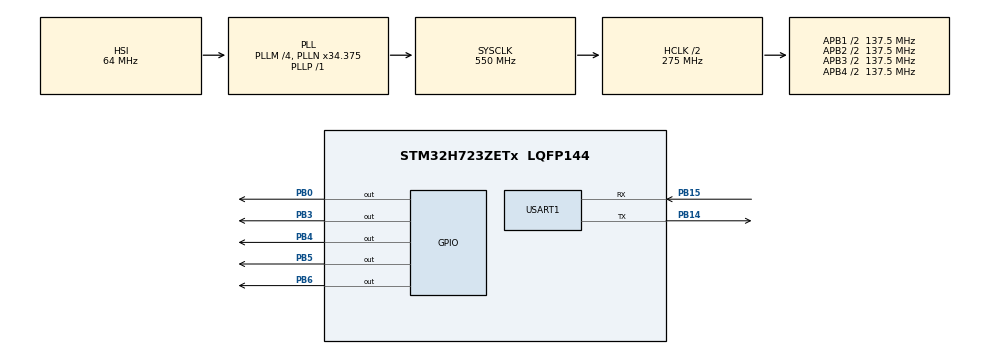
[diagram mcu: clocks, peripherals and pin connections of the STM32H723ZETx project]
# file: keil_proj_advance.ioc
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CORTEX_M7.default_mode_Activation=1
Mcu.Family=STM32H7
Mcu.Name=STM32H723ZETx
Mcu.Package=LQFP144
NVIC.PriorityGroup=NVIC_PRIORITYGROUP_4
NVIC.TIM6_DAC_IRQn=true\:0\:0\:false\:false\:true\:true\:true\:true
NVIC.USART1_IRQn=true\:0\:0\:false\:false\:true\:true\:true\:true
PB0.Signal=GPIO_Output
PB14.Mode=Asynchronous
PB14.Signal=USART1_TX
PB15.Mode=Asynchronous
PB15.Signal=USART1_RX
PB3(JTDO/TRACESWO).Signal=GPIO_Output
PB4(NJTRST).Signal=GPIO_Output
PB5.Signal=GPIO_Output
PB6.Signal=GPIO_Output
ProjectManager.HeapSize=0x200
ProjectManager.StackSize=0x400
ProjectManager.TargetToolchain=MDK-ARM V5.32
RCC.ADCFreq_Value=129000000
RCC.APB1Freq_Value=137500000
RCC.APB2Freq_Value=137500000
RCC.APB3Freq_Value=137500000
RCC.APB4Freq_Value=137500000
RCC.CortexFreq_Value=550000000
RCC.D1PPRE=RCC_APB3_DIV2
RCC.D2PPRE1=RCC_APB1_DIV2
RCC.D2PPRE2=RCC_APB2_DIV2
RCC.D3PPRE=RCC_APB4_DIV2
RCC.DIVM1=4
RCC.DIVN1=34
RCC.DIVP1=1
RCC.HCLKFreq_Value=275000000
RCC.HPRE=RCC_HCLK_DIV2
RCC.PLL2FRACN=0
RCC.PLL3FRACN=0
RCC.PLLFRACN=3072
RCC.SYSCLKFreq_VALUE=550000000
RCC.SYSCLKSource=RCC_SYSCLKSOURCE_PLLCLK
RCC.USBFreq_Value=275000000
TIM6.Period=4999
TIM6.Prescaler=27499
USART1.VirtualMode-Asynchronous=VM_ASYNC
VP_MEMORYMAP_VS_MEMORYMAP.Mode=CurAppReg
VP_TIM6_VS_ClockSourceINT.Mode=Enable_Timer
board=custom

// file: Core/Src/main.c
/* USER CODE BEGIN Header */
/**
  ******************************************************************************
  * @file           : main.c
  * @brief          : Main program body
  ******************************************************************************
  * @attention
  *
  * Copyright (c) 2026 STMicroelectronics.
  * All rights reserved.
  *
  * This software is licensed under terms that can be found in the LICENSE file
  * in the root directory of this software component.
  * If no LICENSE file comes with this software, it is provided AS-IS.
  *
  ******************************************************************************
  */
/* USER CODE END Header */
#include "main.h"
#include "tim.h"
#include "usart.h"
#include "gpio.h"

/* USER CODE BEGIN Includes */
#include "led.h"
#include "buzzer.h"
#include "byte_queue.h"
/* USER CODE END Includes */

/* USER CODE BEGIN PV */
uint8_t rx_data;
byte_queue_t rx_queue;
/* USER CODE END PV */

void SystemClock_Config(void);
static void MPU_Config(void);
/* USER CODE BEGIN PFP */
void command_process(uint8_t data);
volatile int signal = 0; // 流水灯模式信号量（全局变量），0表示四灯全灭，
//1表示单个流水灯，2表示两个流水灯，3表示四个流水灯

/* USER CODE END PFP */

/* USER CODE BEGIN 0 */
void command_process(uint8_t data)
{
  // 后面在这里写命令解析
  switch (data)
  {
    case '0':
      signal = 0;
      break;
    case '1':
      signal = 1;
      break;
    case '2':
      signal = 2;
      break;
    case '3':
      signal = 3;
      break;

      break;
    default:
      break;
  }
}
/* USER CODE END 0 */

int main(void)
{

  /* MPU Configuration--------------------------------------------------------*/
  MPU_Config();

  /* MCU Configuration--------------------------------------------------------*/

  /* Reset of all peripherals, Initializes the Flash interface and the Systick. */
  HAL_Init();

  /* Configure the system clock */
  SystemClock_Config();

  /* Initialize all configured peripherals */
  MX_GPIO_Init();
  MX_TIM6_Init();
  MX_USART1_UART_Init();
  /* USER CODE BEGIN 2 */

  /* 上电蜂鸣提示 */
  buzzer_on();
  HAL_Delay(100U);
  buzzer_off();

	HAL_TIM_Base_Start_IT(&htim6);

  byte_queue_init(&rx_queue);

	HAL_UART_Receive_IT(&huart1, &rx_data, 1);
  /* USER CODE END 2 */

  /* Infinite loop */
  /* USER CODE BEGIN WHILE */
  while (1)
  {

    uint8_t data;       // 存 pop 出来的字节
    bool result;        // pop 是否成功
    uint32_t primask;   // 保存原中断状态
    primask = __get_PRIMASK();
    __disable_irq();
    result = byte_queue_pop(&rx_queue, &data);
    __set_PRIMASK(primask);
    if (result)
    {
      command_process(data);
    }
    /* USER CODE END WHILE */

    /* USER CODE BEGIN 3 */
    //flow_led();
  }
  /* USER CODE END 3 */
}

void SystemClock_Config(void)
{
  RCC_OscInitTypeDef RCC_OscInitStruct = {0};
  RCC_ClkInitTypeDef RCC_ClkInitStruct = {0};

  /** Supply configuration update enable
  */
  HAL_PWREx_ConfigSupply(PWR_LDO_SUPPLY);

  /** Configure the main internal regulator output voltage
  */
  __HAL_PWR_VOLTAGESCALING_CONFIG(PWR_REGULATOR_VOLTAGE_SCALE0);

  while(!__HAL_PWR_GET_FLAG(PWR_FLAG_VOSRDY)) {}

  /** Initializes the RCC Oscillators according to the specified parameters
  * in the RCC_OscInitTypeDef structure.
  */
  RCC_OscInitStruct.OscillatorType = RCC_OSCILLATORTYPE_HSI;
  RCC_OscInitStruct.HSIState = RCC_HSI_DIV1;
  RCC_OscInitStruct.HSICalibrationValue = 64;
  RCC_OscInitStruct.PLL.PLLState = RCC_PLL_ON;
  RCC_OscInitStruct.PLL.PLLSource = RCC_PLLSOURCE_HSI;
  RCC_OscInitStruct.PLL.PLLM = 4;
  RCC_OscInitStruct.PLL.PLLN = 34;
  RCC_OscInitStruct.PLL.PLLP = 1;
  RCC_OscInitStruct.PLL.PLLQ = 2;
  RCC_OscInitStruct.PLL.PLLR = 2;
  RCC_OscInitStruct.PLL.PLLRGE = RCC_PLL1VCIRANGE_3;
  RCC_OscInitStruct.PLL.PLLVCOSEL = RCC_PLL1VCOWIDE;
  RCC_OscInitStruct.PLL.PLLFRACN = 3072;
  if (HAL_RCC_OscConfig(&RCC_OscInitStruct) != HAL_OK)
  {
    Error_Handler();
  }

  /** Initializes the CPU, AHB and APB buses clocks
  */
  RCC_ClkInitStruct.ClockType = RCC_CLOCKTYPE_HCLK|RCC_CLOCKTYPE_SYSCLK
                              |RCC_CLOCKTYPE_PCLK1|RCC_CLOCKTYPE_PCLK2
                              |RCC_CLOCKTYPE_D3PCLK1|RCC_CLOCKTYPE_D1PCLK1;
  RCC_ClkInitStruct.SYSCLKSource = RCC_SYSCLKSOURCE_PLLCLK;
  RCC_ClkInitStruct.SYSCLKDivider = RCC_SYSCLK_DIV1;
  RCC_ClkInitStruct.AHBCLKDivider = RCC_HCLK_DIV2;
  RCC_ClkInitStruct.APB3CLKDivider = RCC_APB3_DIV2;
  RCC_ClkInitStruct.APB1CLKDivider = RCC_APB1_DIV2;
  RCC_ClkInitStruct.APB2CLKDivider = RCC_APB2_DIV2;
  RCC_ClkInitStruct.APB4CLKDivider = RCC_APB4_DIV2;

  if (HAL_RCC_ClockConfig(&RCC_ClkInitStruct, FLASH_LATENCY_3) != HAL_OK)
  {
    Error_Handler();
  }
}

/* USER CODE BEGIN 4 */
void HAL_TIM_PeriodElapsedCallback(TIM_HandleTypeDef *htim)
{
    if (htim->Instance == TIM6)
    {
			HAL_GPIO_TogglePin(LED_GPIO_PORT, LED1_PIN);
        /* 你自己写：LED1 翻转 */

    }
}

void HAL_UART_RxCpltCallback(UART_HandleTypeDef *huart)
{
    if (huart->Instance == USART1)
    {
        // 将接收到的数据放入队列
        byte_queue_push(&rx_queue, rx_data);
        // 重新启动接收中断
        HAL_UART_Receive_IT(huart, &rx_data, 1);
    }
}
/* USER CODE END 4 */

 /* MPU Configuration */

void MPU_Config(void)
{
  MPU_Region_InitTypeDef MPU_InitStruct = {0};

  /* Disables the MPU */
  HAL_MPU_Disable();

  /** Initializes and configures the Region and the memory to be protected
  */
  MPU_InitStruct.Enable = MPU_REGION_ENABLE;
  MPU_InitStruct.Number = MPU_REGION_NUMBER0;
  MPU_InitStruct.BaseAddress = 0x0;
  MPU_InitStruct.Size = MPU_REGION_SIZE_4GB;
  MPU_InitStruct.SubRegionDisable = 0x87;
  MPU_InitStruct.TypeExtField = MPU_TEX_LEVEL0;
  MPU_InitStruct.AccessPermission = MPU_REGION_NO_ACCESS;
  MPU_InitStruct.DisableExec = MPU_INSTRUCTION_ACCESS_DISABLE;
  MPU_InitStruct.IsShareable = MPU_ACCESS_SHAREABLE;
  MPU_InitStruct.IsCacheable = MPU_ACCESS_NOT_CACHEABLE;
  MPU_InitStruct.IsBufferable = MPU_ACCESS_NOT_BUFFERABLE;

  HAL_MPU_ConfigRegion(&MPU_InitStruct);
  /* Enables the MPU */
  HAL_MPU_Enable(MPU_PRIVILEGED_DEFAULT);

}

void Error_Handler(void)
{
  __disable_irq();
  while (1)
  {
  }
}
